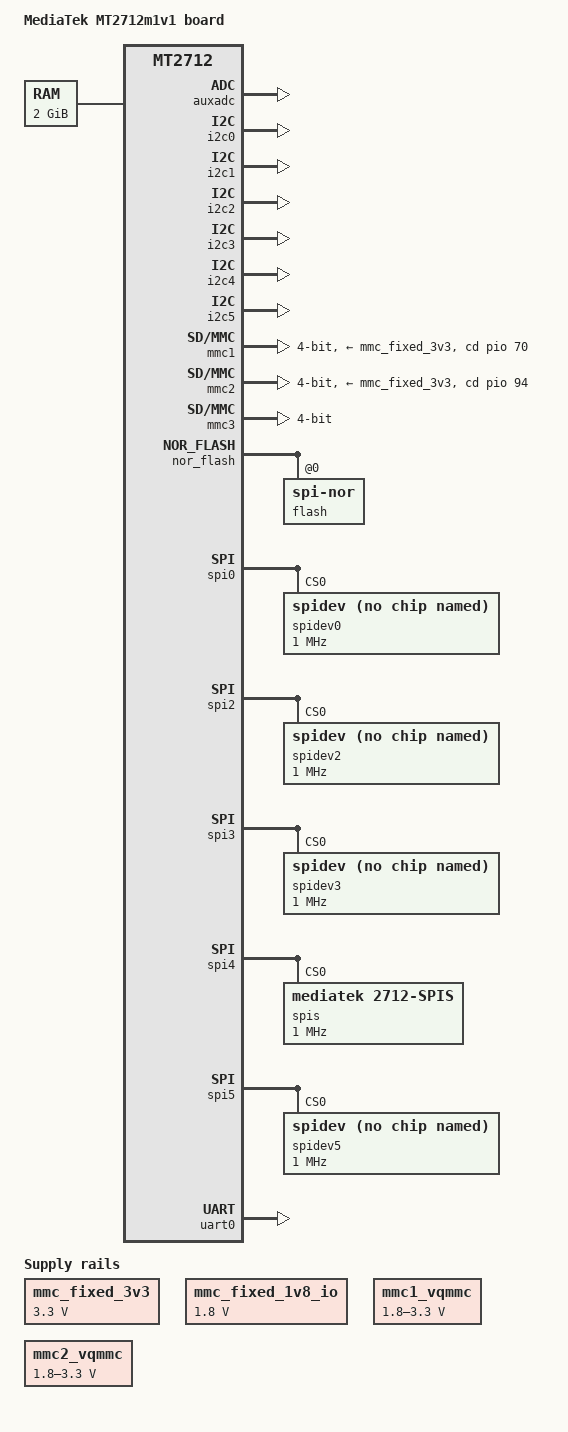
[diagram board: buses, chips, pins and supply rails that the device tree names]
/*
 * Copyright (c) 2017 MediaTek Inc.
 * Author: Eddie Huang <eddie.huang@mediatek.com>
 *
 * This program is free software; you can redistribute it and/or modify
 * it under the terms of the GNU General Public License version 2 as
 * published by the Free Software Foundation.
 *
 * This program is distributed in the hope that it will be useful,
 * but WITHOUT ANY WARRANTY; without even the implied warranty of
 * MERCHANTABILITY or FITNESS FOR A PARTICULAR PURPOSE.  See the
 * GNU General Public License for more details.
 */

#include <dt-bindings/gpio/gpio.h>
#include "mt2712.dtsi"

/ {
	model = "MediaTek MT2712m1v1 board";
	compatible = "mediatek,mt2712m1v1", "mediatek,mt2712";

	memory@40000000 {
		device_type = "memory";
		reg = <0 0x40000000 0 0x80000000>;
	};

	mmc_fixed_3v3: fixedregulator@0 {
		compatible = "regulator-fixed";
		regulator-name = "mmc_power";
		regulator-min-microvolt = <3300000>;
		regulator-max-microvolt = <3300000>;
		enable-active-high;
		regulator-always-on;
	};

	mmc_fixed_1v8_io: fixedregulator@1 {
		compatible = "regulator-fixed";
		regulator-name = "mmc_io";
		regulator-min-microvolt = <1800000>;
		regulator-max-microvolt = <1800000>;
		enable-active-high;
		regulator-always-on;
	};

	mmc1_vqmmc: gpio-regulator@0 {
		compatible = "regulator-gpio";
		regulator-name = "mmc1_vqmmc";
		regulator-min-microvolt = <1800000>;
		regulator-max-microvolt = <3300000>;
		gpios = <&pio 67 GPIO_ACTIVE_HIGH>;
		states = <1800000 0x0
			  3300000 0x1>;
		startup-delay-us = <5000>;
		enable-active-high;
		regulator-always-on;
	};

	mmc2_vqmmc: gpio-regulator@1 {
		compatible = "regulator-gpio";
		regulator-name = "mmc2_vqmmc";
		regulator-min-microvolt = <1800000>;
		regulator-max-microvolt = <3300000>;
		gpios = <&pio 96 GPIO_ACTIVE_HIGH>;
		states = <1800000 0x0
			  3300000 0x1>;
		startup-delay-us = <5000>;
		enable-active-high;
		regulator-always-on;
	};

};

&auxadc {
	status = "okay";
};

&i2c0 {
	pinctrl-names = "default";
	pinctrl-0 = <&i2c0_pins>;
	status = "okay";
};

&i2c1 {
	pinctrl-names = "default";
	pinctrl-0 = <&i2c1_pins>;
	status = "okay";
};

&i2c2 {
	pinctrl-names = "default";
	pinctrl-0 = <&i2c2_pins>;
	status = "okay";
};

&i2c3 {
	pinctrl-names = "default";
	pinctrl-0 = <&i2c3_pins>;
	status = "okay";
};

&i2c4 {
	pinctrl-names = "default";
	pinctrl-0 = <&i2c4_pins>;
	status = "okay";
};

&i2c5 {
	pinctrl-names = "default";
	pinctrl-0 = <&i2c5_pins>;
	status = "okay";
};

&mmc1 {
	pinctrl-names = "default", "state_uhs";
	pinctrl-0 = <&mmc1_pins_default>;
	pinctrl-1 = <&mmc1_pins_uhs>;
	status = "okay";
	bus-width = <4>;
	max-frequency = <200000000>;
	cap-sd-highspeed;
	sd-uhs-sdr50;
	sd-uhs-sdr104;
	cd-gpios = <&pio 70 0>;
	vmmc-supply = <&mmc_fixed_3v3>;
	vqmmc-supply = <&mmc1_vqmmc>;
	assigned-clocks = <&topckgen CLK_TOP_MSDC30_1_SEL>;
	assigned-clock-parents = <&topckgen CLK_TOP_MSDCPLL_D2>;
};

&mmc2 {
	pinctrl-names = "default", "state_uhs";
	pinctrl-0 = <&mmc2_pins_default>;
	pinctrl-1 = <&mmc2_pins_uhs>;
	status = "okay";
	bus-width = <4>;
	max-frequency = <200000000>;
	cap-sd-highspeed;
	sd-uhs-sdr50;
	sd-uhs-sdr104;
	cd-gpios = <&pio 94 0>;
	vmmc-supply = <&mmc_fixed_3v3>;
	vqmmc-supply = <&mmc2_vqmmc>;
	assigned-clocks = <&topckgen CLK_TOP_MSDC30_1_SEL>;
	assigned-clock-parents = <&topckgen CLK_TOP_MSDCPLL_D2>;
};

&mmc3 {
	status = "okay";
	bus-width = <4>;
	max-frequency = <200000000>;
	cap-sd-highspeed;
	sd-uhs-sdr50;
	sd-uhs-sdr104;
};

&nor_flash {
	pinctrl-names = "default";
	status = "okay";
	flash@0 {
		compatible = "jedec,spi-nor";
		reg = <0>;
	};
};

&pcie0 {
	pinctrl-names = "default";
	pinctrl-0 = <&pcie_pinctl0>;
};

&pio {
	i2c0_pins: i2c0 {
		pins_bus {
			pinmux = <MT2712_PIN_105_I2C_SDA0__FUNC_SDA0>,
				 <MT2712_PIN_111_I2C_SCL0__FUNC_SCL0>;
			bias-disable;
		};
	};

	i2c1_pins: i2c1 {
		pins_bus {
			pinmux = <MT2712_PIN_106_I2C_SDA1__FUNC_SDA1>,
				 <MT2712_PIN_112_I2C_SCL1__FUNC_SCL1>;
			bias-disable;
		};
	};

	i2c2_pins: i2c2 {
		pins_bus {
			pinmux = <MT2712_PIN_107_I2C_SDA2__FUNC_SDA2>,
				 <MT2712_PIN_113_I2C_SCL2__FUNC_SCL2>;
			bias-disable;
		};
	};

	i2c3_pins: i2c3 {
		pins_bus {
			pinmux = <MT2712_PIN_108_I2C_SDA3__FUNC_SDA3>,
				 <MT2712_PIN_114_I2C_SCL3__FUNC_SCL3>;
			bias-disable;
		};
	};

	i2c4_pins: i2c4 {
		pins_bus {
			pinmux = <MT2712_PIN_109_I2C_SDA4__FUNC_SDA4>,
				 <MT2712_PIN_115_I2C_SCL4__FUNC_SCL4>;
			bias-disable;
		};
	};

	i2c5_pins: i2c5 {
		pins_bus {
			pinmux = <MT2712_PIN_110_I2C_SDA5__FUNC_SDA5>,
				 <MT2712_PIN_116_I2C_SCL5__FUNC_SCL5>;
			bias-disable;
		};
	};

	mmc0_pins_default: mmc0default {
		pins_cmd_dat {
			pinmux = <MT2712_PIN_45_MSDC0E_DAT0__FUNC_MSDC0_DAT0>,
				 <MT2712_PIN_44_MSDC0E_DAT1__FUNC_MSDC0_DAT1>,
				 <MT2712_PIN_43_MSDC0E_DAT2__FUNC_MSDC0_DAT2>,
				 <MT2712_PIN_42_MSDC0E_DAT3__FUNC_MSDC0_DAT3>,
				 <MT2712_PIN_41_MSDC0E_DAT4__FUNC_MSDC0_DAT4>,
				 <MT2712_PIN_40_MSDC0E_DAT5__FUNC_MSDC0_DAT5>,
				 <MT2712_PIN_39_MSDC0E_DAT6__FUNC_MSDC0_DAT6>,
				 <MT2712_PIN_38_MSDC0E_DAT7__FUNC_MSDC0_DAT7>,
				 <MT2712_PIN_46_MSDC0E_CMD__FUNC_MSDC0_CMD>;
			input-enable;
			drive-strength = <MTK_DRIVE_4mA>;
			bias-pull-up = <MTK_PUPD_SET_R1R0_01>;
		};

		pins_clk {
			pinmux = <MT2712_PIN_37_MSDC0E_CLK__FUNC_MSDC0_CLK>;
			drive-strength = <MTK_DRIVE_4mA>;
			bias-pull-down = <MTK_PUPD_SET_R1R0_10>;
		};

		pins_rst {
			pinmux = <MT2712_PIN_48_MSDC0E_RSTB__FUNC_MSDC0_RSTB>;
			bias-pull-up;
		};
	};

	mmc0_pins_uhs: mmc0@0{
		pins_cmd_dat {
			pinmux = <MT2712_PIN_45_MSDC0E_DAT0__FUNC_MSDC0_DAT0>,
				 <MT2712_PIN_44_MSDC0E_DAT1__FUNC_MSDC0_DAT1>,
				 <MT2712_PIN_43_MSDC0E_DAT2__FUNC_MSDC0_DAT2>,
				 <MT2712_PIN_42_MSDC0E_DAT3__FUNC_MSDC0_DAT3>,
				 <MT2712_PIN_41_MSDC0E_DAT4__FUNC_MSDC0_DAT4>,
				 <MT2712_PIN_40_MSDC0E_DAT5__FUNC_MSDC0_DAT5>,
				 <MT2712_PIN_39_MSDC0E_DAT6__FUNC_MSDC0_DAT6>,
				 <MT2712_PIN_38_MSDC0E_DAT7__FUNC_MSDC0_DAT7>,
				 <MT2712_PIN_46_MSDC0E_CMD__FUNC_MSDC0_CMD>;
			input-enable;
			drive-strength = <MTK_DRIVE_6mA>;
			bias-pull-up = <MTK_PUPD_SET_R1R0_01>;
		};

		pins_clk {
			pinmux = <MT2712_PIN_37_MSDC0E_CLK__FUNC_MSDC0_CLK>;
			drive-strength = <MTK_DRIVE_6mA>;
			bias-pull-down = <MTK_PUPD_SET_R1R0_10>;
		};

		pins_ds {
			pinmux = <MT2712_PIN_47_MSDC0E_DSL__FUNC_MSDC0_DSL>;
			drive-strength = <MTK_DRIVE_6mA>;
			bias-pull-down = <MTK_PUPD_SET_R1R0_10>;
		};

		pins_rst {
			pinmux = <MT2712_PIN_48_MSDC0E_RSTB__FUNC_MSDC0_RSTB>;
			bias-pull-up;
		};

	};

	mmc1_pins_default: mmc1default {
		pins_cmd_dat {
			pinmux = <MT2712_PIN_68_MSDC1_DAT0__FUNC_MSDC1_DAT0>,
				 <MT2712_PIN_65_MSDC1_DAT1__FUNC_MSDC1_DAT1>,
				 <MT2712_PIN_66_MSDC1_DAT2__FUNC_MSDC1_DAT2>,
				 <MT2712_PIN_64_MSDC1_DAT3__FUNC_MSDC1_DAT3>,
				 <MT2712_PIN_69_MSDC1_CMD__FUNC_MSDC1_CMD>;
			input-enable;
			drive-strength = <MTK_DRIVE_6mA>;
			bias-pull-up = <MTK_PUPD_SET_R1R0_01>;
		};

		pins_clk {
			pinmux = <MT2712_PIN_63_MSDC1_CLK__FUNC_MSDC1_CLK>;
			drive-strength = <MTK_DRIVE_6mA>;
			bias-pull-down = <MTK_PUPD_SET_R1R0_10>;
		};

		pins_insert {
			pinmux = <MT2712_PIN_70_MSDC1_INS__FUNC_GPIO70>;
			input-enable;
			bias-pull-up;
		};
	};

	mmc1_pins_uhs: mmc1@0{
		pins_cmd_dat {
			pinmux = <MT2712_PIN_68_MSDC1_DAT0__FUNC_MSDC1_DAT0>,
				 <MT2712_PIN_65_MSDC1_DAT1__FUNC_MSDC1_DAT1>,
				 <MT2712_PIN_66_MSDC1_DAT2__FUNC_MSDC1_DAT2>,
				 <MT2712_PIN_64_MSDC1_DAT3__FUNC_MSDC1_DAT3>,
				 <MT2712_PIN_69_MSDC1_CMD__FUNC_MSDC1_CMD>;
			input-enable;
			drive-strength = <MTK_DRIVE_6mA>;
			bias-pull-up = <MTK_PUPD_SET_R1R0_01>;
		};

		pins_clk {
			pinmux = <MT2712_PIN_63_MSDC1_CLK__FUNC_MSDC1_CLK>;
			drive-strength = <MTK_DRIVE_6mA>;
			bias-pull-down = <MTK_PUPD_SET_R1R0_10>;
		};
	};

	mmc2_pins_default: mmc2default {
		pins_cmd_dat {
			pinmux = <MT2712_PIN_93_MSDC2_DAT0__FUNC_MSDC2_DAT0>,
				 <MT2712_PIN_92_MSDC2_DAT1__FUNC_MSDC2_DAT1>,
				 <MT2712_PIN_91_MSDC2_DAT2__FUNC_MSDC2_DAT2>,
				 <MT2712_PIN_90_MSDC2_DAT3__FUNC_MSDC2_DAT3>,
				 <MT2712_PIN_95_MSDC2_CMD__FUNC_MSDC2_CMD>;
			input-enable;
			drive-strength = <MTK_DRIVE_6mA>;
			bias-pull-up = <MTK_PUPD_SET_R1R0_01>;
		};

		pins_clk {
			pinmux = <MT2712_PIN_89_MSDC2_CLK__FUNC_MSDC2_CLK>;
			drive-strength = <MTK_DRIVE_6mA>;
			bias-pull-down = <MTK_PUPD_SET_R1R0_10>;
		};

		pins_insert {
			pinmux = <MT2712_PIN_94_MSDC2_INS__FUNC_GPIO94>;
			input-enable;
			bias-pull-up;
		};
	};

	mmc2_pins_uhs: mmc2@0{
		pins_cmd_dat {
			pinmux = <MT2712_PIN_93_MSDC2_DAT0__FUNC_MSDC2_DAT0>,
				 <MT2712_PIN_92_MSDC2_DAT1__FUNC_MSDC2_DAT1>,
				 <MT2712_PIN_91_MSDC2_DAT2__FUNC_MSDC2_DAT2>,
				 <MT2712_PIN_90_MSDC2_DAT3__FUNC_MSDC2_DAT3>,
				 <MT2712_PIN_95_MSDC2_CMD__FUNC_MSDC2_CMD>;
			input-enable;
			drive-strength = <MTK_DRIVE_6mA>;
			bias-pull-up = <MTK_PUPD_SET_R1R0_01>;
		};

		pins_clk {
			pinmux = <MT2712_PIN_89_MSDC2_CLK__FUNC_MSDC2_CLK>;
			drive-strength = <MTK_DRIVE_6mA>;
			bias-pull-down = <MTK_PUPD_SET_R1R0_10>;
		};
	};

	pcie_pinctl0: pcie0 {
		pcie0 {
			pinmux = <MT2712_PIN_204_PERSTB_P0__FUNC_PERST_B_P0>,
			<MT2712_PIN_205_CLKREQN_P0__FUNC_CLKREQ_N_P0>,
			<MT2712_PIN_206_WAKEEN_P0__FUNC_WAKE_EN_P0>,
			/* following three pins are for EP */
			<MT2712_PIN_207_PERSTB_P1__FUNC_PERST_B_P1>,
			<MT2712_PIN_208_CLKREQN_P1__FUNC_CLKREQ_N_P1>,
			<MT2712_PIN_209_WAKEEN_P1__FUNC_WAKE_EN_P1>;
		};
	};

	spi_pins_0: spi0@0 {
		pins_spi {
			pinmux = <MT2712_PIN_153_SPI0_CSN__FUNC_SPI_CS_0_>,
				 <MT2712_PIN_154_SPI0_MI__FUNC_SPI_MI_0_>,
				 <MT2712_PIN_155_SPI0_CK__FUNC_SPI_CK_0_>,
				 <MT2712_PIN_156_SPI0_MO__FUNC_SPI_MO_0_>;
			bias-disable;
		};
	};

	spi_pins_2: spi2@0 {
		pins_spi {
			pinmux = <MT2712_PIN_127_SPI2_CSN__FUNC_SPI_CS_2_>,
				 <MT2712_PIN_128_SPI2_MO__FUNC_SPI_MO_2_>,
				 <MT2712_PIN_129_SPI2_MI__FUNC_SPI_MI_2_>,
				 <MT2712_PIN_130_SPI2_CK__FUNC_SPI_CK_2_>;
			bias-disable;
		};
	};

	spi_pins_3: spi3@0 {
		pins_spi {
			pinmux = <MT2712_PIN_131_SPI3_CSN__FUNC_SPI_CS_3_>,
				 <MT2712_PIN_132_SPI3_MO__FUNC_SPI_MO_3_>,
				 <MT2712_PIN_133_SPI3_MI__FUNC_SPI_MI_3_>,
				 <MT2712_PIN_134_SPI3_CK__FUNC_SPI_CK_3_>;
			bias-disable;
		};
	};

	spi_pins_4: spi4@0 {
		pins_spi0 {
			pinmux = <MT2712_PIN_165_SPI4_CSN__FUNC_SPI_CS_4_>,
				 <MT2712_PIN_166_SPI4_MI__FUNC_SPI_MI_4_>,
				 <MT2712_PIN_167_SPI4_MO__FUNC_SPI_MO_4_>,
				 <MT2712_PIN_168_SPI4_CK__FUNC_SPI_CK_4_>;
			bias-disable;
		};

		pins_spi1 {
			pinmux = <MT2712_PIN_161_SPI1_CSN__FUNC_SPI_CS_1_>,
				 <MT2712_PIN_162_SPI1_SI__FUNC_SPI_SI_1_>,
				 <MT2712_PIN_163_SPI1_CK__FUNC_SPI_CK_1_>,
				 <MT2712_PIN_164_SPI1_SO__FUNC_SPI_SO_1_>;
			bias-disable;
		};
	};

	spi_pins_5: spi5@0 {
		pins_spi {
			pinmux = <MT2712_PIN_157_SPI5_CSN__FUNC_SPI_CS_5_>,
				 <MT2712_PIN_158_SPI5_MI__FUNC_SPI_MI_5_>,
				 <MT2712_PIN_159_SPI5_MO__FUNC_SPI_MO_5_>,
				 <MT2712_PIN_160_SPI5_CK__FUNC_SPI_CK_5_>;
			bias-disable;
		};
	};
};

&spi0 {
	pinctrl-names = "default";
	pinctrl-0 = <&spi_pins_0>;
	status = "okay";

	spidev0: spi@0 {
		compatible = "linux,spidev";
		reg = <0>;
		spi-max-frequency = <1000000>;
	};
};

&spi2 {
	pinctrl-names = "default";
	pinctrl-0 = <&spi_pins_2>;
	status = "okay";

	spidev2: spi@0 {
		compatible = "linux,spidev";
		reg = <0>;
		spi-max-frequency = <1000000>;
	};
};

&spi3 {
	pinctrl-names = "default";
	pinctrl-0 = <&spi_pins_3>;
	status = "okay";

	spidev3: spi@0 {
		compatible = "linux,spidev";
		reg = <0>;
		spi-max-frequency = <1000000>;
	};
};

&spi4 {
	pinctrl-names = "default";
	pinctrl-0 = <&spi_pins_4>;
	status = "okay";

	spis: spi@0 {
		compatible = "mediatek,2712-spis";
		reg = <0>;
		interrupts = <GIC_SPI 283 IRQ_TYPE_LEVEL_LOW>;
		clocks = <&topckgen CLK_TOP_SPISLV_SEL>,
			 <&pericfg CLK_PERI_SPI1>;
		clock-names = "selclk", "spiclk";
		spi-max-frequency = <1000000>;
	};

};

&spi5 {
	pinctrl-names = "default";
	pinctrl-0 = <&spi_pins_5>;
	status = "okay";

	spidev5: spi@0 {
		compatible = "linux,spidev";
		reg = <0>;
		spi-max-frequency = <1000000>;
	};
};

&uart0 {
	status = "okay";
};
